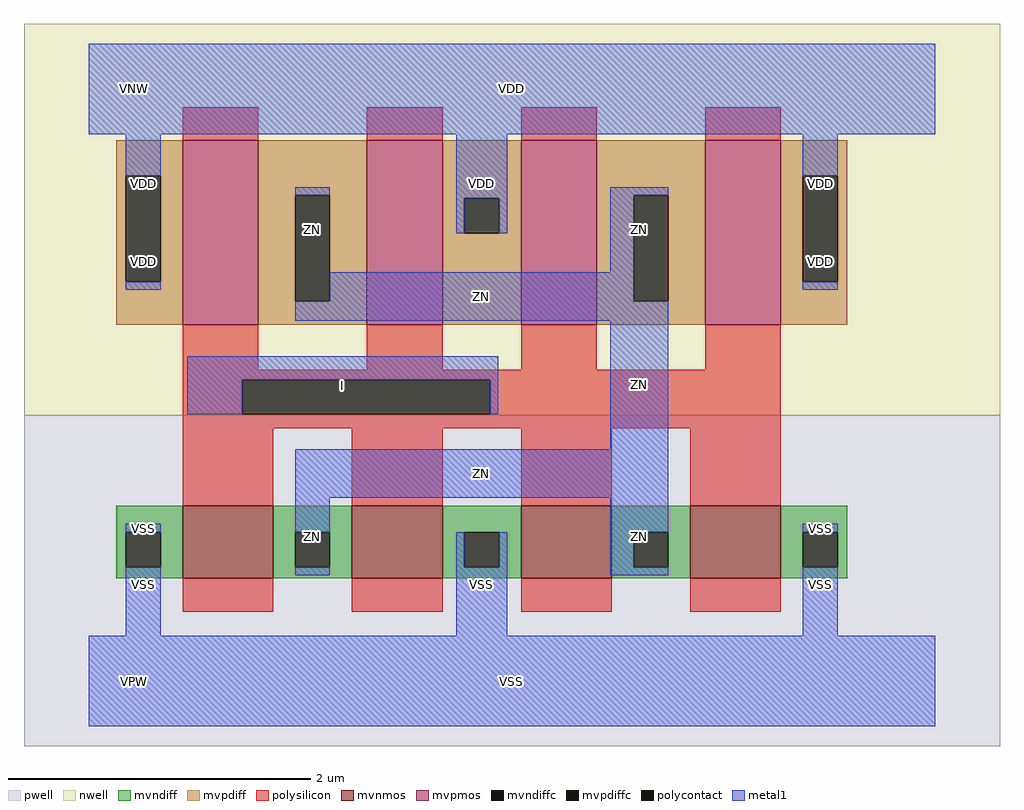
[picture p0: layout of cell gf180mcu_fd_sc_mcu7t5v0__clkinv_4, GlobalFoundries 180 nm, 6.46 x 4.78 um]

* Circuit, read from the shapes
.subckt gf180mcu_fd_sc_mcu7t5v0__clkinv_4 I ZN VDD VNW VPW VSS
XM1 ZN I VSS VPW nfet_06v0 w=0.48u l=0.6u m=4
XM2 ZN I VDD VNW pfet_06v0 w=1.22u l=0.5u m=4
.ends

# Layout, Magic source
magic
tech gf180mcuD
magscale 1 10
<< nwell >>
rect -86 352 1206 870
<< pwell >>
rect -86 -86 1206 352
<< mvnmos >>
rect 124 136 244 232
rect 348 136 468 232
rect 572 136 692 232
rect 796 136 916 232
<< mvpmos >>
rect 124 472 224 716
rect 368 472 468 716
rect 572 472 672 716
rect 816 472 916 716
<< mvndiff >>
rect 36 197 124 232
rect 36 151 49 197
rect 95 151 124 197
rect 36 136 124 151
rect 244 197 348 232
rect 244 151 273 197
rect 319 151 348 197
rect 244 136 348 151
rect 468 197 572 232
rect 468 151 497 197
rect 543 151 572 197
rect 468 136 572 151
rect 692 197 796 232
rect 692 151 721 197
rect 767 151 796 197
rect 692 136 796 151
rect 916 197 1004 232
rect 916 151 945 197
rect 991 151 1004 197
rect 916 136 1004 151
<< mvpdiff >>
rect 36 669 124 716
rect 36 529 49 669
rect 95 529 124 669
rect 36 472 124 529
rect 224 643 368 716
rect 224 503 273 643
rect 319 503 368 643
rect 224 472 368 503
rect 468 639 572 716
rect 468 593 497 639
rect 543 593 572 639
rect 468 472 572 593
rect 672 643 816 716
rect 672 503 721 643
rect 767 503 816 643
rect 672 472 816 503
rect 916 669 1004 716
rect 916 529 945 669
rect 991 529 1004 669
rect 916 472 1004 529
<< mvndiffc >>
rect 49 151 95 197
rect 273 151 319 197
rect 497 151 543 197
rect 721 151 767 197
rect 945 151 991 197
<< mvpdiffc >>
rect 49 529 95 669
rect 273 503 319 643
rect 497 593 543 639
rect 721 503 767 643
rect 945 529 991 669
<< polysilicon >>
rect 124 716 224 760
rect 368 716 468 760
rect 572 716 672 760
rect 816 716 916 760
rect 124 412 224 472
rect 368 412 468 472
rect 572 412 672 472
rect 816 412 916 472
rect 124 399 916 412
rect 124 353 203 399
rect 531 353 916 399
rect 124 335 916 353
rect 124 232 244 335
rect 348 232 468 335
rect 572 232 692 335
rect 796 232 916 335
rect 124 92 244 136
rect 348 92 468 136
rect 572 92 692 136
rect 796 92 916 136
<< polycontact >>
rect 203 353 531 399
<< metal1 >>
rect 0 724 1120 844
rect 49 669 95 724
rect 49 518 95 529
rect 273 643 319 654
rect 486 639 554 724
rect 945 669 991 724
rect 486 593 497 639
rect 543 593 554 639
rect 690 643 767 654
rect 690 541 721 643
rect 319 503 721 541
rect 945 518 991 529
rect 273 477 767 503
rect 130 399 542 430
rect 130 353 203 399
rect 531 353 542 399
rect 690 307 767 477
rect 273 243 767 307
rect 49 197 95 208
rect 49 60 95 151
rect 273 197 319 243
rect 690 197 767 243
rect 273 140 319 151
rect 486 151 497 197
rect 543 151 554 197
rect 486 60 554 151
rect 690 151 721 197
rect 690 140 767 151
rect 945 197 991 208
rect 945 60 991 151
rect 0 -60 1120 60
<< labels >>
flabel metal1 s 0 724 1120 844 0 FreeSans 600 0 0 0 VDD
port 3 nsew power bidirectional abutment
flabel metal1 s 945 197 991 208 0 FreeSans 600 0 0 0 VSS
port 6 nsew ground bidirectional abutment
flabel metal1 s 690 541 767 654 0 FreeSans 600 0 0 0 ZN
port 2 nsew default output
flabel metal1 s 130 353 542 430 0 FreeSans 600 0 0 0 I
port 1 nsew default input
flabel nwell s 10 734 110 834 0 FreeSans 400 0 0 0 VNW
port 4 nsew power bidirectional
flabel pwell s 10 -50 110 50 0 FreeSans 400 0 0 0 VPW
port 5 nsew ground bidirectional
rlabel metal1 s 273 541 319 654 1 ZN
port 2 nsew default output
rlabel metal1 s 273 477 767 541 1 ZN
port 2 nsew default output
rlabel metal1 s 690 307 767 477 1 ZN
port 2 nsew default output
rlabel metal1 s 273 243 767 307 1 ZN
port 2 nsew default output
rlabel metal1 s 690 140 767 243 1 ZN
port 2 nsew default output
rlabel metal1 s 273 140 319 243 1 ZN
port 2 nsew default output
rlabel metal1 s 945 593 991 724 1 VDD
port 3 nsew power bidirectional abutment
rlabel metal1 s 486 593 554 724 1 VDD
port 3 nsew power bidirectional abutment
rlabel metal1 s 49 593 95 724 1 VDD
port 3 nsew power bidirectional abutment
rlabel metal1 s 945 518 991 593 1 VDD
port 3 nsew power bidirectional abutment
rlabel metal1 s 49 518 95 593 1 VDD
port 3 nsew power bidirectional abutment
rlabel metal1 s 49 197 95 208 1 VSS
port 6 nsew ground bidirectional abutment
rlabel metal1 s 945 60 991 197 1 VSS
port 6 nsew ground bidirectional abutment
rlabel metal1 s 486 60 554 197 1 VSS
port 6 nsew ground bidirectional abutment
rlabel metal1 s 49 60 95 197 1 VSS
port 6 nsew ground bidirectional abutment
rlabel metal1 s 0 -60 1120 60 1 VSS
port 6 nsew ground bidirectional abutment
<< properties >>
string FIXED_BBOX 0 0 1120 784
string GDS_END 826338
string GDS_FILE $PDKPATH/libs.ref/gf180mcu_fd_sc_mcu7t5v0/gds/gf180mcu_fd_sc_mcu7t5v0.gds
string GDS_START 823102
string LEFclass core
string LEFsite GF018hv5v_mcu_sc7
string LEFsymmetry X Y
<< end >>
